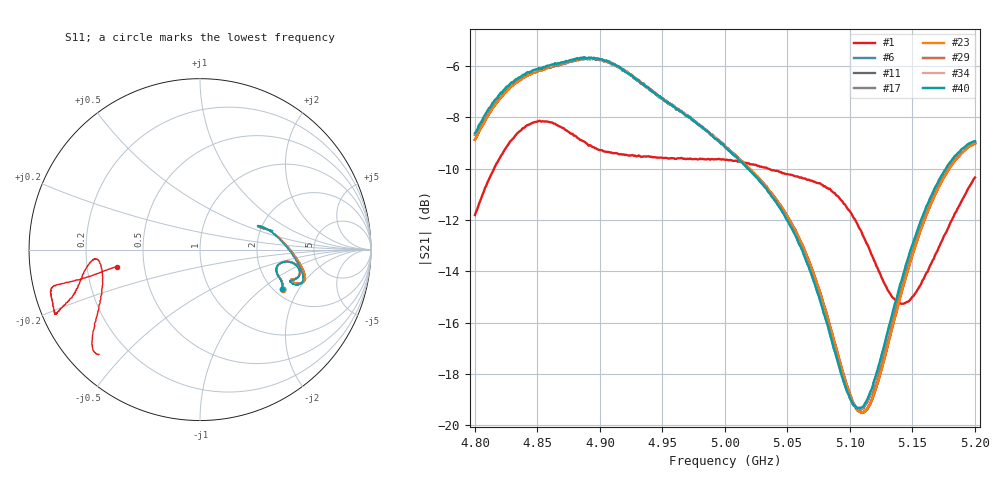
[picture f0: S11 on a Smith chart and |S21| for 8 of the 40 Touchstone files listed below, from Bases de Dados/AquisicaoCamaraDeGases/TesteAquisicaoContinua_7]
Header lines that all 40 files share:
! Network Analyzer HP8722D
! Hewlett-Packard
! Data name: Linha & Wilkinson
! Saver's name: Rodrigo Anjos
! Comments: Teste da utilização de aquisição
! continua pelo VNA HP8722D
!  Frequency  S11  S21  S12  S22
# HZ  S  MA R 50
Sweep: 4.8 GHz to 5.2 GHz
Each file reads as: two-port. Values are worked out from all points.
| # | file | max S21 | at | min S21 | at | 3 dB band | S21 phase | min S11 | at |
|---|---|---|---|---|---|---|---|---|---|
| 1 | teste_arseco&ACE_0-70_80.S2P | -8.14 dB | 4.852 GHz | -15.3 dB | 5.141 GHz | 4.806 GHz-5.091 GHz | -62 deg at 5 GHz | -6.1 dB | 4.8 GHz |
| 2 | teste_arseco&ACE_0-70_81.S2P | -8.15 dB | 4.852 GHz | -15.3 dB | 5.141 GHz | 4.806 GHz-5.091 GHz | -62 deg at 5 GHz | -6.1 dB | 4.8 GHz |
| 3 | teste_arseco&ACE_0-70_82.S2P | -7.36 dB | 4.8 GHz | -19.5 dB | 4.926 GHz | 4.992 GHz-5.122 GHz | 84 deg at 5 GHz | -7.4 dB | 4.981 GHz |
| 4 | teste_arseco&ACE_0-70_83.S2P | -7.34 dB | 4.8 GHz | -19.4 dB | 4.927 GHz | 4.992 GHz-5.121 GHz | 84 deg at 5 GHz | -7.4 dB | 4.981 GHz |
| 5 | teste_arseco&ACE_0-70_84.S2P | -5.71 dB | 4.888 GHz | -19.5 dB | 5.11 GHz | 4.802 GHz-4.99 GHz | 148 deg at 5 GHz | -8.8 dB | 5.167 GHz |
| 6 | teste_arseco&ACE_0-70_85.S2P | -5.69 dB | 4.895 GHz | -19.5 dB | 5.11 GHz | 4.802 GHz-4.988 GHz | 148 deg at 5 GHz | -8.8 dB | 5.17 GHz |
| 7 | teste_arseco&ACE_0-70_86.S2P | -5.70 dB | 4.888 GHz | -19.5 dB | 5.109 GHz | 4.802 GHz-4.989 GHz | 148 deg at 5 GHz | -8.8 dB | 5.172 GHz |
| 8 | teste_arseco&ACE_0-70_87.S2P | -5.70 dB | 4.888 GHz | -19.5 dB | 5.11 GHz | 4.802 GHz-4.989 GHz | 148 deg at 5 GHz | -8.8 dB | 5.17 GHz |
| 9 | teste_arseco&ACE_0-70_88.S2P | -5.69 dB | 4.887 GHz | -19.5 dB | 5.11 GHz | 4.802 GHz-4.989 GHz | 148 deg at 5 GHz | -8.8 dB | 5.169 GHz |
| 10 | teste_arseco&ACE_0-70_89.S2P | -5.70 dB | 4.887 GHz | -19.5 dB | 5.109 GHz | 4.802 GHz-4.99 GHz | 148 deg at 5 GHz | -8.8 dB | 5.17 GHz |
| 11 | teste_arseco&ACE_0-70_90.S2P | -5.70 dB | 4.888 GHz | -19.5 dB | 5.109 GHz | 4.802 GHz-4.99 GHz | 148 deg at 5 GHz | -8.8 dB | 5.172 GHz |
| 12 | teste_arseco&ACE_0-70_91.S2P | -5.70 dB | 4.895 GHz | -19.5 dB | 5.109 GHz | 4.802 GHz-4.989 GHz | 148 deg at 5 GHz | -8.8 dB | 5.172 GHz |
| 13 | teste_arseco&ACE_0-70_92.S2P | -5.70 dB | 4.888 GHz | -19.5 dB | 5.11 GHz | 4.802 GHz-4.989 GHz | 148 deg at 5 GHz | -8.8 dB | 5.167 GHz |
| 14 | teste_arseco&ACE_0-70_93.S2P | -5.70 dB | 4.895 GHz | -19.5 dB | 5.11 GHz | 4.802 GHz-4.989 GHz | 148 deg at 5 GHz | -8.8 dB | 5.172 GHz |
| 15 | teste_arseco&ACE_0-70_94.S2P | -5.69 dB | 4.888 GHz | -19.5 dB | 5.11 GHz | 4.803 GHz-4.989 GHz | 148 deg at 5 GHz | -8.8 dB | 5.172 GHz |
| 16 | teste_arseco&ACE_0-70_95.S2P | -5.70 dB | 4.888 GHz | -19.5 dB | 5.109 GHz | 4.802 GHz-4.99 GHz | 148 deg at 5 GHz | -8.8 dB | 5.172 GHz |
| 17 | teste_arseco&ACE_0-70_96.S2P | -5.70 dB | 4.895 GHz | -19.5 dB | 5.111 GHz | 4.802 GHz-4.99 GHz | 148 deg at 5 GHz | -8.8 dB | 5.172 GHz |
| 18 | teste_arseco&ACE_0-70_97.S2P | -5.71 dB | 4.888 GHz | -19.5 dB | 5.109 GHz | 4.803 GHz-4.989 GHz | 148 deg at 5 GHz | -8.8 dB | 5.172 GHz |
| 19 | teste_arseco&ACE_0-70_98.S2P | -5.70 dB | 4.888 GHz | -19.5 dB | 5.11 GHz | 4.802 GHz-4.989 GHz | 148 deg at 5 GHz | -8.8 dB | 5.172 GHz |
| 20 | teste_arseco&ACE_0-70_99.S2P | -5.69 dB | 4.888 GHz | -19.5 dB | 5.11 GHz | 4.802 GHz-4.989 GHz | 148 deg at 5 GHz | -8.8 dB | 5.172 GHz |
| 21 | teste_arseco&ACE_0-70_100.S2P | -5.71 dB | 4.887 GHz | -19.5 dB | 5.111 GHz | 4.802 GHz-4.99 GHz | 148 deg at 5 GHz | -8.8 dB | 5.17 GHz |
| 22 | teste_arseco&ACE_0-70_101.S2P | -5.70 dB | 4.892 GHz | -19.5 dB | 5.11 GHz | 4.803 GHz-4.99 GHz | 148 deg at 5 GHz | -8.8 dB | 5.172 GHz |
| 23 | teste_arseco&ACE_0-70_102.S2P | -5.70 dB | 4.888 GHz | -19.5 dB | 5.109 GHz | 4.803 GHz-4.99 GHz | 148 deg at 5 GHz | -8.8 dB | 5.172 GHz |
| 24 | teste_arseco&ACE_0-70_103.S2P | -5.70 dB | 4.888 GHz | -19.5 dB | 5.11 GHz | 4.802 GHz-4.989 GHz | 148 deg at 5 GHz | -8.8 dB | 5.172 GHz |
| 25 | teste_arseco&ACE_0-70_104.S2P | -5.68 dB | 4.888 GHz | -19.4 dB | 5.109 GHz | 4.802 GHz-4.988 GHz | 148 deg at 5 GHz | -8.8 dB | 5.167 GHz |
| 26 | teste_arseco&ACE_0-70_105.S2P | -5.70 dB | 4.892 GHz | -19.4 dB | 5.106 GHz | 4.801 GHz-4.988 GHz | 148 deg at 5 GHz | -8.8 dB | 5.172 GHz |
| 27 | teste_arseco&ACE_0-70_106.S2P | -5.67 dB | 4.888 GHz | -19.4 dB | 5.106 GHz | 4.801 GHz-4.988 GHz | 147 deg at 5 GHz | -8.8 dB | 5.167 GHz |
| 28 | teste_arseco&ACE_0-70_107.S2P | -5.67 dB | 4.888 GHz | -19.4 dB | 5.109 GHz | 4.801 GHz-4.988 GHz | 147 deg at 5 GHz | -8.8 dB | 5.167 GHz |
| 29 | teste_arseco&ACE_0-70_108.S2P | -5.66 dB | 4.887 GHz | -19.4 dB | 5.108 GHz | 4.801 GHz-4.988 GHz | 147 deg at 5 GHz | -8.8 dB | 5.167 GHz |
| 30 | teste_arseco&ACE_0-70_109.S2P | -5.68 dB | 4.889 GHz | -19.4 dB | 5.107 GHz | 4.8 GHz-4.988 GHz | 147 deg at 5 GHz | -8.8 dB | 5.167 GHz |
| 31 | teste_arseco&ACE_0-70_110.S2P | -5.67 dB | 4.887 GHz | -19.4 dB | 5.107 GHz | 4.8 GHz-4.988 GHz | 147 deg at 5 GHz | -8.8 dB | 5.167 GHz |
| 32 | teste_arseco&ACE_0-70_111.S2P | -5.67 dB | 4.888 GHz | -19.4 dB | 5.107 GHz | 4.8 GHz-4.987 GHz | 147 deg at 5 GHz | -8.8 dB | 5.167 GHz |
| 33 | teste_arseco&ACE_0-70_112.S2P | -5.68 dB | 4.892 GHz | -19.4 dB | 5.109 GHz | 4.8 GHz-4.988 GHz | 147 deg at 5 GHz | -8.8 dB | 5.172 GHz |
| 34 | teste_arseco&ACE_0-70_113.S2P | -5.68 dB | 4.886 GHz | -19.4 dB | 5.107 GHz | 4.8 GHz-4.988 GHz | 147 deg at 5 GHz | -8.8 dB | 5.172 GHz |
| 35 | teste_arseco&ACE_0-70_114.S2P | -5.66 dB | 4.888 GHz | -19.3 dB | 5.106 GHz | 4.8 GHz-4.988 GHz | 147 deg at 5 GHz | -8.8 dB | 5.167 GHz |
| 36 | teste_arseco&ACE_0-70_115.S2P | -5.68 dB | 4.888 GHz | -19.3 dB | 5.108 GHz | 4.8 GHz-4.988 GHz | 147 deg at 5 GHz | -8.8 dB | 5.168 GHz |
| 37 | teste_arseco&ACE_0-70_116.S2P | -5.66 dB | 4.895 GHz | -19.3 dB | 5.109 GHz | 4.8 GHz-4.988 GHz | 147 deg at 5 GHz | -8.8 dB | 5.168 GHz |
| 38 | teste_arseco&ACE_0-70_117.S2P | -5.68 dB | 4.893 GHz | -19.3 dB | 5.106 GHz | 4.8 GHz-4.988 GHz | 147 deg at 5 GHz | -8.8 dB | 5.172 GHz |
| 39 | teste_arseco&ACE_0-70_118.S2P | -5.66 dB | 4.887 GHz | -19.4 dB | 5.106 GHz | 4.8 GHz-4.988 GHz | 147 deg at 5 GHz | -8.8 dB | 5.167 GHz |
| 40 | teste_arseco&ACE_0-70_119.S2P | -5.67 dB | 4.888 GHz | -19.3 dB | 5.108 GHz | 4.8 GHz-4.988 GHz | 147 deg at 5 GHz | -8.8 dB | 5.167 GHz |
